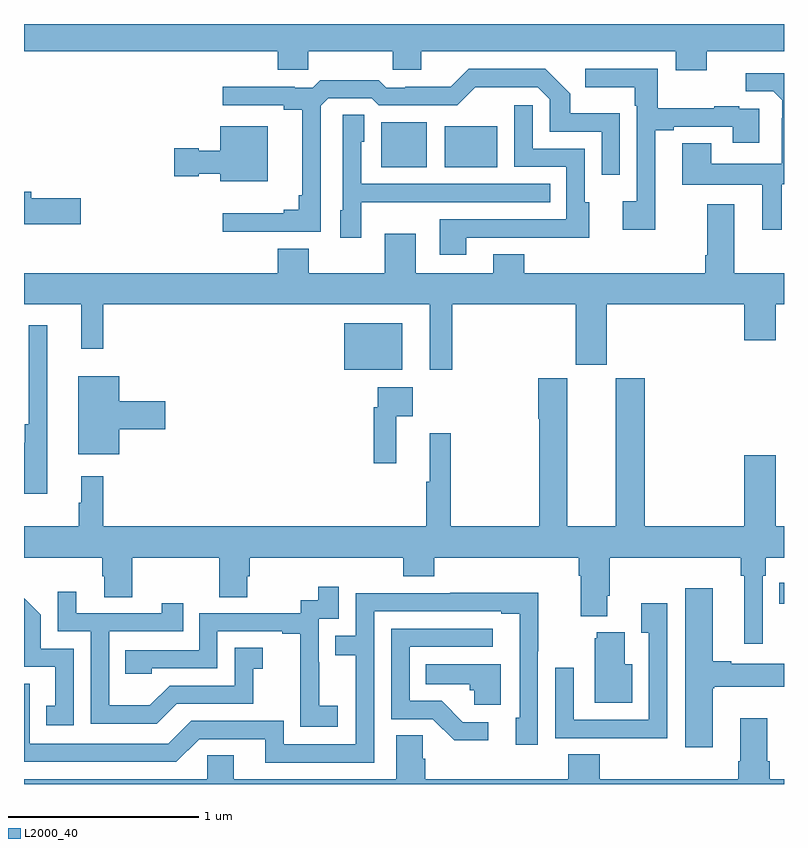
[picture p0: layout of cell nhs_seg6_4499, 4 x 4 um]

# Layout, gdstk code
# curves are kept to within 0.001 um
import gdstk
lib = gdstk.Library(unit=1e-6, precision=1e-09)
def R(c, l, rs):  # rectangles x0, y0, x1, y1
    for r in rs: c.add(gdstk.rectangle(r[:2], r[2:], *l))
def P(c, l, *ps):  # polygons
    for p in ps: c.add(gdstk.Polygon(p, *l))
L2000_40 = (2000, 40)

nhs_seg6_4499 = lib.new_cell('nhs_seg6_4499')
R(nhs_seg6_4499, L2000_40, [(380.974,924.45,381,924.558), (378.686,925.679,378.991,925.924), (378.881,926.747,379.12,926.983), (379.214,926.747,379.492,926.962)])
P(nhs_seg6_4499, L2000_40, [(380.593,927.356),(381,927.356),(381,927.5),(377,927.5),(377,927.356),(378.335,927.356),(378.335,927.258),(378.495,927.258),(378.495,927.356),(378.94,927.356),(378.94,927.258),(379.09,927.258),(379.09,927.356),(380.429,927.356),(380.429,927.257),(380.593,927.257)],
  [(378.561,927.069),(378.6,927.108),(378.831,927.108),(378.867,927.072),(379.281,927.072),(379.376,927.167),(379.704,927.168),(379.767,927.105),(379.767,926.934),(380.04,926.934),(380.04,926.706),(380.136,926.706),(380.136,927.031),(379.875,927.031),(379.875,927.134),(379.744,927.264),(379.341,927.264),(379.247,927.17),(379.006,927.17),(379.006,927.165),(378.906,927.165),(378.867,927.205),(378.559,927.205),(378.519,927.165),(378.425,927.165),(378.425,927.17),(378.045,927.17),(378.045,927.072),(378.368,927.072),(378.368,927.05),(378.464,927.05),(378.464,926.599),(378.445,926.599),(378.445,926.522),(378.368,926.522),(378.368,926.503),(378.045,926.503),(378.045,926.406),(378.561,926.406)],
  [(380.323,926.94),(380.419,926.94),(380.419,926.958),(380.729,926.958),(380.729,926.874),(380.869,926.874),(380.869,927.054),(380.765,927.054),(380.765,927.067),(380.633,927.067),(380.633,927.056),(380.335,927.056),(380.335,927.264),(379.953,927.264),(379.953,927.167),(380.214,927.167),(380.214,927.071),(380.226,927.071),(380.226,926.566),(380.151,926.566),(380.151,926.418),(380.323,926.418)],
  [(380.989,926.656),(381,926.656),(381,927.24),(380.799,927.241),(380.799,927.147),(380.943,927.147),(380.99,927.1),(380.99,927.005),(380.988,927.005),(380.988,926.764),(380.617,926.764),(380.617,926.873),(380.465,926.873),(380.465,926.654),(380.885,926.654),(380.885,926.418),(380.989,926.418)],
  [(379.327,926.376),(379.757,926.376),(379.757,926.375),(379.975,926.375),(379.975,926.562),(379.95,926.562),(379.95,926.844),(379.677,926.844),(379.677,927.073),(379.581,927.073),(379.581,926.748),(379.854,926.748),(379.854,926.472),(379.187,926.472),(379.187,926.286),(379.327,926.286)],
  [(378.774,926.561),(379.091,926.561),(379.091,926.562),(379.769,926.562),(379.769,926.658),(378.774,926.658),(378.774,926.88),(378.79,926.88),(378.79,927.023),(378.678,927.023),(378.678,926.52),(378.665,926.52),(378.665,926.376),(378.774,926.376)],
  [(378.283,926.962),(378.032,926.962),(378.032,926.833),(377.919,926.833),(377.919,926.846),(377.79,926.846),(377.79,926.699),(377.919,926.699),(377.919,926.711),(378.032,926.711),(378.032,926.672),(378.283,926.672)],
  [(377.299,926.582),(377.038,926.582),(377.038,926.618),(377,926.618),(377,926.447),(377.299,926.447)],
  [(378.899,926.395),(378.899,926.188),(378.499,926.188),(378.499,926.317),(378.335,926.317),(378.335,926.188),(377,926.188),(377,926.024),(377.3,926.024),(377.3,925.791),(377.417,925.791),(377.417,926.024),(379.136,926.024),(379.136,925.68),(379.253,925.68),(379.253,926.024),(379.904,926.024),(379.904,925.707),(380.068,925.707),(380.068,926.024),(380.792,926.024),(380.792,925.836),(380.956,925.836),(380.956,926.024),(381,926.024),(381,926.188),(380.737,926.188),(380.737,926.551),(380.597,926.551),(380.597,926.284),(380.585,926.284),(380.585,926.188),(379.633,926.188),(379.633,926.287),(379.469,926.287),(379.469,926.188),(379.063,926.188),(379.063,926.395)],
  [(377.122,925.915),(377.025,925.915),(377.025,925.393),(377.005,925.393),(377.005,925.297),(377,925.297),(377,925.028),(377.122,925.028)],
  [(377.5,925.367),(377.743,925.367),(377.743,925.514),(377.5,925.514),(377.5,925.645),(377.285,925.645),(377.285,925.235),(377.5,925.235)],
  [(380.889,924.596),(380.903,924.596),(380.903,924.692),(381,924.692),(381,924.856),(380.956,924.856),(380.956,925.231),(380.792,925.231),(380.792,924.856),(380.267,924.856),(380.267,925.635),(380.114,925.635),(380.114,924.856),(379.858,924.856),(379.858,925.635),(379.706,925.635),(379.706,925.423),(379.711,925.423),(379.711,924.856),(379.246,924.856),(379.246,925.345),(379.136,925.345),(379.136,925.092),(379.117,925.092),(379.117,924.856),(377.417,924.856),(377.417,925.12),(377.3,925.12),(377.3,924.98),(377.289,924.98),(377.289,924.856),(377,924.856),(377,924.692),(377.411,924.692),(377.411,924.594),(377.423,924.594),(377.423,924.484),(377.571,924.484),(377.571,924.692),(378.028,924.692),(378.028,924.484),(378.175,924.484),(378.175,924.594),(378.188,924.594),(378.188,924.692),(378.995,924.692),(378.995,924.593),(379.16,924.593),(379.16,924.692),(379.919,924.692),(379.919,924.596),(379.931,924.596),(379.931,924.383),(380.071,924.383),(380.071,924.49),(380.084,924.49),(380.084,924.692),(380.773,924.692),(380.773,924.596),(380.792,924.596),(380.792,924.237),(380.889,924.237)],
  [(378.959,925.436),(379.045,925.436),(379.045,925.588),(378.861,925.588),(378.861,925.484),(378.841,925.484),(378.841,925.188),(378.959,925.188)],
  [(378.652,923.911),(378.554,923.911),(378.554,924.14),(378.552,924.14),(378.552,924.369),(378.657,924.369),(378.657,924.538),(378.549,924.538),(378.549,924.468),(378.456,924.468),(378.456,924.399),(377.922,924.399),(377.922,924.204),(377.533,924.204),(377.533,924.081),(377.673,924.081),(377.673,924.108),(378.018,924.108),(378.018,924.303),(378.359,924.303),(378.359,924.291),(378.455,924.291),(378.455,924.007),(378.454,924.007),(378.454,923.801),(378.652,923.801)],
  [(380.626,924.004),(380.634,924.004),(380.634,924.011),(381,924.011),(381,924.133),(380.722,924.133),(380.722,924.146),(380.626,924.146),(380.626,924.529),(380.48,924.529),(380.48,923.694),(380.626,923.694)],
  [(377.803,923.922),(378.207,923.922),(378.207,924.107),(378.256,924.107),(378.256,924.217),(378.108,924.217),(378.108,924.018),(377.766,924.018),(377.662,923.914),(377.448,923.914),(377.448,924.303),(377.837,924.303),(377.837,924.451),(377.726,924.451),(377.726,924.399),(377.275,924.399),(377.275,924.511),(377.178,924.511),(377.178,924.303),(377.352,924.303),(377.352,923.817),(377.698,923.817)],
  [(378.843,924.408),(379.511,924.408),(379.511,924.396),(379.608,924.396),(379.608,923.85),(379.589,923.85),(379.589,923.706),(379.704,923.706),(379.704,924.199),(379.707,924.199),(379.707,924.506),(379.243,924.506),(379.243,924.504),(378.747,924.504),(378.747,924.279),(378.637,924.279),(378.637,924.178),(378.747,924.178),(378.747,923.709),(378.366,923.709),(378.366,923.832),(377.88,923.832),(377.76,923.712),(377.031,923.712),(377.031,924.027),(377,924.027),(377,923.616),(377.802,923.616),(377.922,923.736),(378.269,923.736),(378.269,923.613),(378.843,923.613)],
  [(377.262,924.213),(377.088,924.213),(377.088,924.39),(377,924.478),(377,924.117),(377.165,924.117),(377.165,923.913),(377.116,923.913),(377.116,923.808),(377.262,923.808)],
  [(380.385,924.451),(380.249,924.451),(380.249,924.295),(380.289,924.295),(380.289,923.838),(379.893,923.838),(379.893,924.112),(379.797,924.112),(379.797,923.742),(380.113,923.742),(380.113,923.741),(380.385,923.741)],
  [(379.444,923.826),(379.309,923.826),(379.198,923.937),(379.029,923.937),(379.029,924.222),(379.468,924.222),(379.468,924.318),(378.933,924.318),(378.933,923.841),(379.152,923.841),(379.265,923.729),(379.444,923.729)],
  [(380.2,924.13),(380.161,924.13),(380.161,924.298),(380.015,924.298),(380.015,924.267),(380.003,924.267),(380.003,923.927),(380.2,923.927)],
  [(379.51,924.13),(379.114,924.13),(379.114,924.026),(379.345,924.026),(379.345,923.994),(379.371,923.994),(379.371,923.918),(379.51,923.918)],
  [(381,923.524),(380.924,923.524),(380.924,923.62),(380.911,923.62),(380.911,923.845),(380.771,923.845),(380.771,923.62),(380.759,923.62),(380.759,923.524),(380.03,923.524),(380.03,923.657),(379.865,923.657),(379.865,923.524),(379.112,923.524),(379.112,923.633),(379.098,923.633),(379.098,923.756),(378.959,923.756),(378.959,923.524),(378.103,923.524),(378.103,923.651),(377.964,923.651),(377.964,923.524),(377,923.524),(377,923.5),(381,923.5)])

lib.write_gds('nhs_seg6_4499.gds')
